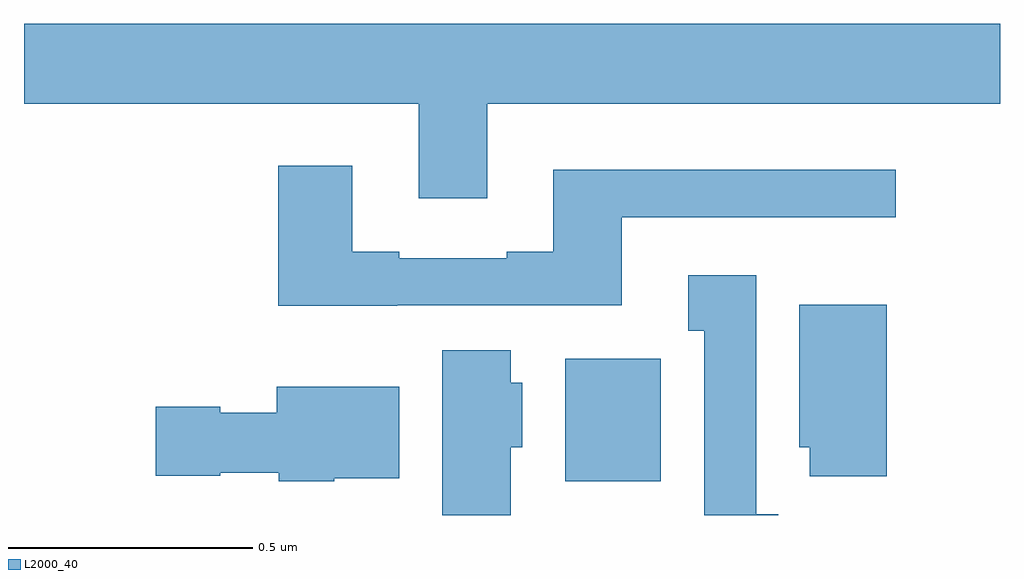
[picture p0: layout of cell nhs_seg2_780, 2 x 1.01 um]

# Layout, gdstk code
import gdstk
lib = gdstk.Library(unit=1e-6, precision=1e-09)
def R(c, l, rs):  # rectangles x0, y0, x1, y1
    for r in rs: c.add(gdstk.rectangle(r[:2], r[2:], *l))
def P(c, l, *ps):  # polygons
    for p in ps: c.add(gdstk.Polygon(p, *l))
L2000_40 = (2000, 40)

nhs_seg2_780 = lib.new_cell('nhs_seg2_780')
R(nhs_seg2_780, L2000_40, [(121.109,638.87,121.305,639.121)])
P(nhs_seg2_780, L2000_40, [(120.949,639.644),(122,639.644),(122,639.808),(120,639.808),(120,639.644),(120.809,639.644),(120.809,639.45),(120.949,639.45)],
  [(120.765,639.231),(121.225,639.231),(121.225,639.411),(121.786,639.411),(121.786,639.508),(121.085,639.508),(121.085,639.34),(120.989,639.34),(120.989,639.327),(120.769,639.327),(120.769,639.34),(120.673,639.34),(120.673,639.517),(120.521,639.517),(120.521,639.23),(120.765,639.23)],
  [(121.546,638.802),(121.501,638.802),(121.501,639.292),(121.361,639.292),(121.361,639.179),(121.394,639.179),(121.394,638.8),(121.546,638.8)],
  [(121.768,639.232),(121.589,639.232),(121.589,638.94),(121.61,638.94),(121.61,638.88),(121.768,638.88)],
  [(120.997,638.94),(121.021,638.94),(121.021,639.072),(120.997,639.072),(120.997,639.139),(120.857,639.139),(120.857,638.8),(120.997,638.8)],
  [(120.636,638.876),(120.769,638.876),(120.769,639.064),(120.518,639.064),(120.518,639.01),(120.402,639.01),(120.402,639.023),(120.27,639.023),(120.27,638.881),(120.402,638.881),(120.402,638.888),(120.522,638.888),(120.522,638.87),(120.636,638.87)])

lib.write_gds('nhs_seg2_780.gds')
